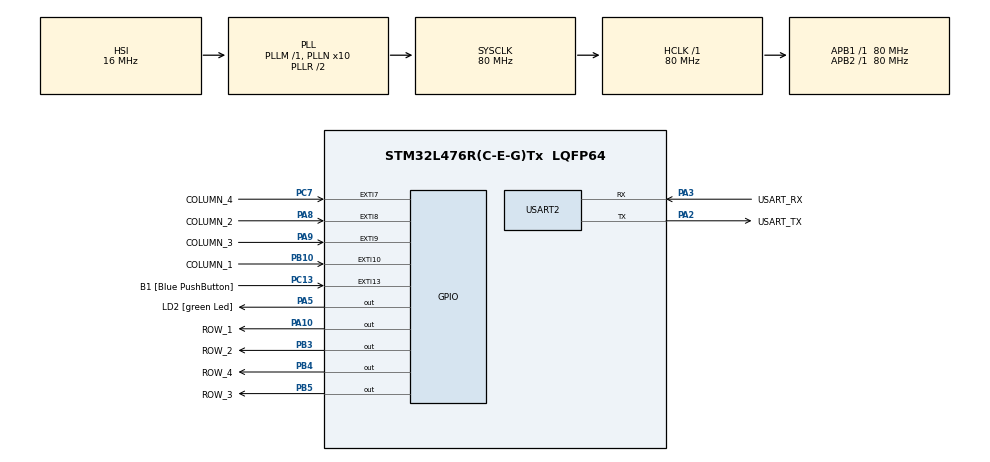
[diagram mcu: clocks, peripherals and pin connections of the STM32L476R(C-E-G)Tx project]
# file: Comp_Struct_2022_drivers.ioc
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Mcu.Family=STM32L4
Mcu.Name=STM32L476R(C-E-G)Tx
Mcu.Package=LQFP64
NVIC.EXTI15_10_IRQn=true\:0\:0\:false\:false\:true\:true\:true\:true
NVIC.EXTI9_5_IRQn=true\:0\:0\:false\:false\:true\:true\:true\:true
NVIC.PriorityGroup=NVIC_PRIORITYGROUP_4
NVIC.USART2_IRQn=true\:0\:0\:false\:false\:true\:true\:true\:true
PA10.GPIO_Label=ROW_1
PA10.Signal=GPIO_Output
PA13\ (JTMS-SWDIO).GPIO_Label=TMS
PA13\ (JTMS-SWDIO).Mode=Serial_Wire
PA13\ (JTMS-SWDIO).Signal=SYS_JTMS-SWDIO
PA14\ (JTCK-SWCLK).GPIO_Label=TCK
PA14\ (JTCK-SWCLK).Mode=Serial_Wire
PA14\ (JTCK-SWCLK).Signal=SYS_JTCK-SWCLK
PA2.GPIO_Label=USART_TX
PA2.GPIO_Mode=GPIO_MODE_AF_PP
PA2.GPIO_PuPd=GPIO_NOPULL
PA2.GPIO_Speed=GPIO_SPEED_FREQ_VERY_HIGH
PA2.Mode=Asynchronous
PA2.Signal=USART2_TX
PA3.GPIO_Label=USART_RX
PA3.GPIO_Mode=GPIO_MODE_AF_PP
PA3.GPIO_PuPd=GPIO_NOPULL
PA3.GPIO_Speed=GPIO_SPEED_FREQ_VERY_HIGH
PA3.Mode=Asynchronous
PA3.Signal=USART2_RX
PA5.GPIO_Label=LD2 [green Led]
PA5.GPIO_ModeDefaultOutputPP=GPIO_MODE_OUTPUT_PP
PA5.GPIO_PuPd=GPIO_NOPULL
PA5.GPIO_Speed=GPIO_SPEED_FREQ_LOW
PA5.Signal=GPIO_Output
PA8.GPIO_Label=COLUMN_2
PA8.GPIO_PuPd=GPIO_PULLDOWN
PA8.Signal=GPXTI8
PA9.GPIO_Label=COLUMN_3
PA9.GPIO_PuPd=GPIO_PULLDOWN
PA9.Signal=GPXTI9
PB10.GPIO_Label=COLUMN_1
PB10.GPIO_PuPd=GPIO_PULLDOWN
PB10.Signal=GPXTI10
PB3\ (JTDO-TRACESWO).GPIO_Label=ROW_2
PB3\ (JTDO-TRACESWO).Signal=GPIO_Output
PB4\ (NJTRST).GPIO_Label=ROW_4
PB4\ (NJTRST).Signal=GPIO_Output
PB5.GPIO_Label=ROW_3
PB5.Signal=GPIO_Output
PC13.GPIO_Label=B1 [Blue PushButton]
PC13.GPIO_ModeDefaultEXTI=GPIO_MODE_IT_FALLING
PC13.GPIO_PuPd=GPIO_NOPULL
PC13.Signal=GPXTI13
PC14-OSC32_IN\ (PC14).Mode=LSE-External-Oscillator
PC14-OSC32_IN\ (PC14).Signal=RCC_OSC32_IN
PC15-OSC32_OUT\ (PC15).Mode=LSE-External-Oscillator
PC15-OSC32_OUT\ (PC15).Signal=RCC_OSC32_OUT
PC7.GPIO_Label=COLUMN_4
PC7.GPIO_PuPd=GPIO_PULLDOWN
PC7.Signal=GPXTI7
PH0-OSC_IN\ (PH0).Signal=RCC_OSC_IN
PH1-OSC_OUT\ (PH1).Signal=RCC_OSC_OUT
ProjectManager.HeapSize=0x200
ProjectManager.StackSize=0x400
ProjectManager.TargetToolchain=STM32CubeIDE
RCC.ADCFreq_Value=64000000
RCC.AHBFreq_Value=80000000
RCC.APB1Freq_Value=80000000
RCC.APB1TimFreq_Value=80000000
RCC.APB2Freq_Value=80000000
RCC.APB2TimFreq_Value=80000000
RCC.CortexFreq_Value=80000000
RCC.HCLKFreq_Value=80000000
RCC.HSE_VALUE=8000000
RCC.HSI_VALUE=16000000
RCC.MSI_VALUE=4000000
RCC.PLLN=10
RCC.PLLSourceVirtual=RCC_PLLSOURCE_HSI
RCC.PREFETCH_ENABLE=1
RCC.SYSCLKFreq_VALUE=80000000
RCC.SYSCLKSource=RCC_SYSCLKSOURCE_PLLCLK
RCC.USBFreq_Value=64000000
RCC.VCOOutputFreq_Value=160000000
USART2.VirtualMode-Asynchronous=VM_ASYNC
board=NUCLEO-L476RG

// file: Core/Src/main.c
/* USER CODE BEGIN Header */
/**
  ******************************************************************************
  * @file           : main.c
  * @brief          : Main program body
  ******************************************************************************
  * @attention
  *
  * Copyright (c) 2023 STMicroelectronics.
  * All rights reserved.
  *
  * This software is licensed under terms that can be found in the LICENSE file
  * in the root directory of this software component.
  * If no LICENSE file comes with this software, it is provided AS-IS.
  *
  ******************************************************************************
  */
/* USER CODE END Header */
#include "main.h"

/* USER CODE BEGIN Includes */
#include "ring_buffer.h"
/* USER CODE END Includes */

UART_HandleTypeDef huart2;

uint8_t rx_buffer[16];
ring_buffer_t ring_buffer_uart_rx;

uint8_t rx_data;

void SystemClock_Config(void);
static void MX_GPIO_Init(void);
static void MX_USART2_UART_Init(void);

/* USER CODE BEGIN 0 */
int _write(int file, char *ptr, int len)
{
  HAL_UART_Transmit(&huart2, (uint8_t *)ptr, len, HAL_MAX_DELAY);
  return len;
}
/**
  * @brief  Tx Half Transfer completed callback.
  * @param  huart UART handle.
  * @retval None
  */
void HAL_UART_RxCpltCallback(UART_HandleTypeDef *huart)
{
	ring_buffer_put(&ring_buffer_uart_rx, rx_data);
	HAL_UART_Receive_IT(&huart2, &rx_data, 1);

}
/* USER CODE END 0 */

int main(void)
{

  /* MCU Configuration--------------------------------------------------------*/

  /* Reset of all peripherals, Initializes the Flash interface and the Systick. */
  HAL_Init();

  /* Configure the system clock */
  SystemClock_Config();

  /* Initialize all configured peripherals */
  MX_GPIO_Init();
  MX_USART2_UART_Init();

  /* Infinite loop */
  /* USER CODE BEGIN WHILE */
  ROW_1_GPIO_Port->BSRR = ROW_1_Pin;
  ROW_2_GPIO_Port->BSRR = ROW_2_Pin;
  ROW_3_GPIO_Port->BSRR = ROW_3_Pin;
  ROW_4_GPIO_Port->BSRR = ROW_4_Pin;

  while (1)
  {
	  uint16_t column_1 = (COLUMN_1_GPIO_Port->IDR & COLUMN_1_Pin);
	  uint16_t column_2 = (COLUMN_2_GPIO_Port->IDR & COLUMN_2_Pin);
	  uint16_t column_3 = (COLUMN_3_GPIO_Port->IDR & COLUMN_3_Pin);
	  uint16_t column_4 = (COLUMN_4_GPIO_Port->IDR & COLUMN_4_Pin);
	  printf("Keys: %x, %x, %x, %x\r\n",
			  column_1, column_2, column_3, column_4);

	  uint16_t size = ring_buffer_size(&ring_buffer_uart_rx);
	  if(size != 0){
		  uint8_t rx_message[size + 1];
		  for(uint16_t idx = 0; idx < size; idx++){

			  ring_buffer_get(&ring_buffer_uart_rx, &rx_message[idx]);

		  }
		  rx_message[size] = 0;

		  printf("Rec: %s\r\n", rx_message);
	  }
	  HAL_Delay(1000);

    /* USER CODE END WHILE */

  }
}

void SystemClock_Config(void)
{
  RCC_OscInitTypeDef RCC_OscInitStruct = {0};
  RCC_ClkInitTypeDef RCC_ClkInitStruct = {0};

  /** Configure the main internal regulator output voltage
  */
  if (HAL_PWREx_ControlVoltageScaling(PWR_REGULATOR_VOLTAGE_SCALE1) != HAL_OK)
  {
    Error_Handler();
  }

  /** Initializes the RCC Oscillators according to the specified parameters
  * in the RCC_OscInitTypeDef structure.
  */
  RCC_OscInitStruct.OscillatorType = RCC_OSCILLATORTYPE_HSI;
  RCC_OscInitStruct.HSIState = RCC_HSI_ON;
  RCC_OscInitStruct.HSICalibrationValue = RCC_HSICALIBRATION_DEFAULT;
  RCC_OscInitStruct.PLL.PLLState = RCC_PLL_ON;
  RCC_OscInitStruct.PLL.PLLSource = RCC_PLLSOURCE_HSI;
  RCC_OscInitStruct.PLL.PLLM = 1;
  RCC_OscInitStruct.PLL.PLLN = 10;
  RCC_OscInitStruct.PLL.PLLP = RCC_PLLP_DIV7;
  RCC_OscInitStruct.PLL.PLLQ = RCC_PLLQ_DIV2;
  RCC_OscInitStruct.PLL.PLLR = RCC_PLLR_DIV2;
  if (HAL_RCC_OscConfig(&RCC_OscInitStruct) != HAL_OK)
  {
    Error_Handler();
  }

  /** Initializes the CPU, AHB and APB buses clocks
  */
  RCC_ClkInitStruct.ClockType = RCC_CLOCKTYPE_HCLK|RCC_CLOCKTYPE_SYSCLK
                              |RCC_CLOCKTYPE_PCLK1|RCC_CLOCKTYPE_PCLK2;
  RCC_ClkInitStruct.SYSCLKSource = RCC_SYSCLKSOURCE_PLLCLK;
  RCC_ClkInitStruct.AHBCLKDivider = RCC_SYSCLK_DIV1;
  RCC_ClkInitStruct.APB1CLKDivider = RCC_HCLK_DIV1;
  RCC_ClkInitStruct.APB2CLKDivider = RCC_HCLK_DIV1;

  if (HAL_RCC_ClockConfig(&RCC_ClkInitStruct, FLASH_LATENCY_4) != HAL_OK)
  {
    Error_Handler();
  }
}

static void MX_USART2_UART_Init(void)
{

  huart2.Instance = USART2;
  huart2.Init.BaudRate = 115200;
  huart2.Init.WordLength = UART_WORDLENGTH_8B;
  huart2.Init.StopBits = UART_STOPBITS_1;
  huart2.Init.Parity = UART_PARITY_NONE;
  huart2.Init.Mode = UART_MODE_TX_RX;
  huart2.Init.HwFlowCtl = UART_HWCONTROL_NONE;
  huart2.Init.OverSampling = UART_OVERSAMPLING_16;
  huart2.Init.OneBitSampling = UART_ONE_BIT_SAMPLE_DISABLE;
  huart2.AdvancedInit.AdvFeatureInit = UART_ADVFEATURE_NO_INIT;
  if (HAL_UART_Init(&huart2) != HAL_OK)
  {
    Error_Handler();
  }

}

static void MX_GPIO_Init(void)
{
  GPIO_InitTypeDef GPIO_InitStruct = {0};

  /* GPIO Ports Clock Enable */
  __HAL_RCC_GPIOC_CLK_ENABLE();
  __HAL_RCC_GPIOH_CLK_ENABLE();
  __HAL_RCC_GPIOA_CLK_ENABLE();
  __HAL_RCC_GPIOB_CLK_ENABLE();

  /*Configure GPIO pin Output Level */
  HAL_GPIO_WritePin(GPIOA, LD2_Pin|ROW_1_Pin, GPIO_PIN_RESET);

  /*Configure GPIO pin Output Level */
  HAL_GPIO_WritePin(GPIOB, ROW_2_Pin|ROW_4_Pin|ROW_3_Pin, GPIO_PIN_RESET);

  /*Configure GPIO pin : B1_Pin */
  GPIO_InitStruct.Pin = B1_Pin;
  GPIO_InitStruct.Mode = GPIO_MODE_IT_FALLING;
  GPIO_InitStruct.Pull = GPIO_NOPULL;
  HAL_GPIO_Init(B1_GPIO_Port, &GPIO_InitStruct);

  /*Configure GPIO pins : LD2_Pin ROW_1_Pin */
  GPIO_InitStruct.Pin = LD2_Pin|ROW_1_Pin;
  GPIO_InitStruct.Mode = GPIO_MODE_OUTPUT_PP;
  GPIO_InitStruct.Pull = GPIO_NOPULL;
  GPIO_InitStruct.Speed = GPIO_SPEED_FREQ_LOW;
  HAL_GPIO_Init(GPIOA, &GPIO_InitStruct);

  /*Configure GPIO pin : COLUMN_1_Pin */
  GPIO_InitStruct.Pin = COLUMN_1_Pin;
  GPIO_InitStruct.Mode = GPIO_MODE_IT_RISING;
  GPIO_InitStruct.Pull = GPIO_PULLDOWN;
  HAL_GPIO_Init(COLUMN_1_GPIO_Port, &GPIO_InitStruct);

  /*Configure GPIO pin : COLUMN_4_Pin */
  GPIO_InitStruct.Pin = COLUMN_4_Pin;
  GPIO_InitStruct.Mode = GPIO_MODE_IT_RISING;
  GPIO_InitStruct.Pull = GPIO_PULLDOWN;
  HAL_GPIO_Init(COLUMN_4_GPIO_Port, &GPIO_InitStruct);

  /*Configure GPIO pins : COLUMN_2_Pin COLUMN_3_Pin */
  GPIO_InitStruct.Pin = COLUMN_2_Pin|COLUMN_3_Pin;
  GPIO_InitStruct.Mode = GPIO_MODE_IT_RISING;
  GPIO_InitStruct.Pull = GPIO_PULLDOWN;
  HAL_GPIO_Init(GPIOA, &GPIO_InitStruct);

  /*Configure GPIO pins : ROW_2_Pin ROW_4_Pin ROW_3_Pin */
  GPIO_InitStruct.Pin = ROW_2_Pin|ROW_4_Pin|ROW_3_Pin;
  GPIO_InitStruct.Mode = GPIO_MODE_OUTPUT_PP;
  GPIO_InitStruct.Pull = GPIO_NOPULL;
  GPIO_InitStruct.Speed = GPIO_SPEED_FREQ_LOW;
  HAL_GPIO_Init(GPIOB, &GPIO_InitStruct);

  /* EXTI interrupt init*/
  HAL_NVIC_SetPriority(EXTI9_5_IRQn, 0, 0);
  HAL_NVIC_EnableIRQ(EXTI9_5_IRQn);

  HAL_NVIC_SetPriority(EXTI15_10_IRQn, 0, 0);
  HAL_NVIC_EnableIRQ(EXTI15_10_IRQn);

}

void Error_Handler(void)
{
  __disable_irq();
  while (1)
  {
  }
}
